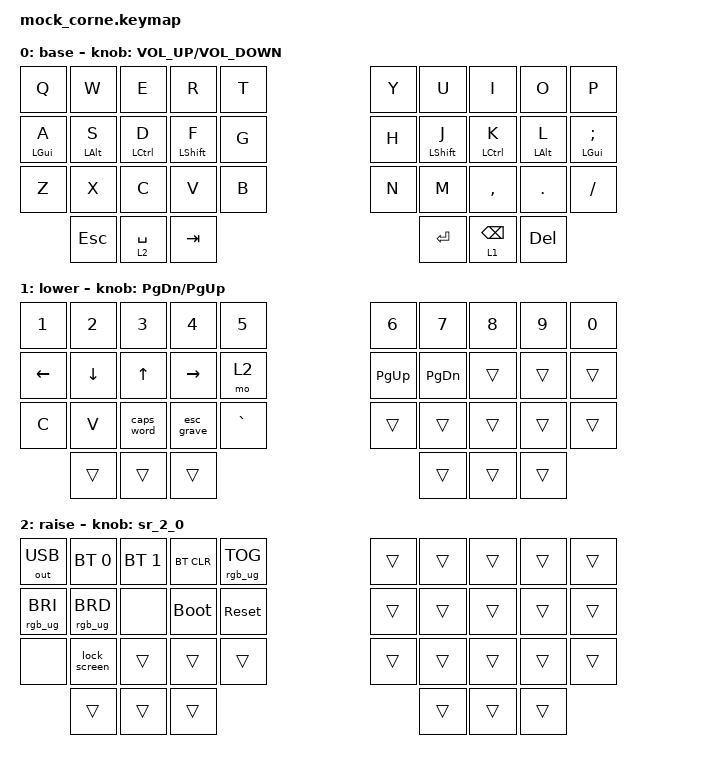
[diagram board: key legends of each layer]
/* Generated by remappr — ZMK keymap for Mock Corne.
 * Keymap layers, behaviors, combos, macros and tap-dances only.
 * Physical layout + matrix-transform live in the .overlay; board
 * hardware (kscan, pinctrl, LED drivers, …) is NOT generated — see
 * the "NOT GENERATED" checklist in the .overlay. */
#include <behaviors.dtsi>
#include <dt-bindings/zmk/keys.h>
#include <dt-bindings/zmk/bt.h>
#include <dt-bindings/zmk/outputs.h>
#include <dt-bindings/zmk/rgb.h>
#include <dt-bindings/zmk/backlight.h>
#include <dt-bindings/zmk/ext_power.h>
#include <dt-bindings/zmk/pointing.h>

/ {
    macros {
        lock_screen: lock_screen {
            compatible = "zmk,behavior-macro";
            #binding-cells = <0>;
            bindings = <&macro_press &kp LEFT_GUI>, <&macro_tap &kp L>, <&macro_release &kp LEFT_GUI>;
        };
    };

    behaviors {
        esc_grave: esc_grave {
            compatible = "zmk,behavior-tap-dance";
            #binding-cells = <0>;
            tapping-term-ms = <200>;
            bindings = <&kp ESCAPE>, <&kp GRAVE>;
        };
    };

    behaviors {
        mm_comma_semi: mm_comma_semi {
            compatible = "zmk,behavior-mod-morph";
            #binding-cells = <0>;
            bindings = <&kp COMMA>, <&kp SEMICOLON>;
            mods = <(MOD_LSFT|MOD_RSFT)>;
        };
        mm_bspc_del: mm_bspc_del {
            compatible = "zmk,behavior-mod-morph";
            #binding-cells = <0>;
            bindings = <&kp BACKSPACE>, <&kp DELETE>;
            mods = <(MOD_LSFT|MOD_RSFT)>;
            keep-mods = <(MOD_LGUI)>;
        };
    };

    behaviors {
        ht_home_row: ht_home_row {
            compatible = "zmk,behavior-hold-tap";
            #binding-cells = <2>;
            bindings = <&kp>, <&kp>;
            flavor = "balanced";
            tapping-term-ms = <200>;
            quick-tap-ms = <150>;
        };
        ht_layer_tap: ht_layer_tap {
            compatible = "zmk,behavior-hold-tap";
            #binding-cells = <2>;
            bindings = <&mo>, <&kp>;
            flavor = "hold-preferred";
            tapping-term-ms = <180>;
            require-prior-idle-ms = <100>;
            retro-tap;
        };
    };

    behaviors {
        sr_2_0: sr_2_0 {
            compatible = "zmk,behavior-sensor-rotate";
            #sensor-binding-cells = <0>;
            bindings = <&rgb_ug RGB_BRI>, <&rgb_ug RGB_BRD>;
        };
    };

    combos {
        compatible = "zmk,combos";
        combo_esc {
            timeout-ms = <50>;
            key-positions = <0 1>;
            bindings = <&kp ESCAPE>;
            layers = <0>;
        };
        combo_tab {
            key-positions = <5 6>;
            bindings = <&kp TAB>;
        };
    };

    conditional_layers {
        compatible = "zmk,conditional-layers";
        cond_0 {
            if-layers = <1>;
            then-layer = <2>;
        };
    };

    keymap {
        compatible = "zmk,keymap";
        layer_base {
            display-name = "base";
            bindings = <
                &kp Q &kp W &kp E &kp R &kp T &mt LGUI A
                &mt LALT S &mt LCTRL D &mt LSHFT F &kp G &kp Z &kp X
                &kp C &kp V &kp B &kp ESCAPE &lt 2 SPACE &kp TAB
                &kp Y &kp U &kp I &kp O &kp P &kp H
                &mt LSHFT J &mt LCTRL K &mt LALT L &mt LGUI SEMICOLON &kp N &kp M
                &kp COMMA &kp PERIOD &kp SLASH &kp RETURN &lt 1 BACKSPACE &kp DELETE
            >;
            sensor-bindings = <&inc_dec_kp C_VOLUME_UP C_VOLUME_DOWN>;
        };
        layer_lower {
            display-name = "lower";
            bindings = <
                &kp NUMBER_1 &kp NUMBER_2 &kp NUMBER_3 &kp NUMBER_4 &kp NUMBER_5 &kp LEFT_ARROW
                &kp DOWN_ARROW &kp UP_ARROW &kp RIGHT_ARROW &mo 2 &kp C &kp V
                &caps_word &esc_grave &kp GRAVE &trans &trans &trans
                &kp NUMBER_6 &kp NUMBER_7 &kp NUMBER_8 &kp NUMBER_9 &kp NUMBER_0 &kp PAGE_UP
                &kp PAGE_DOWN &trans &trans &trans &trans &trans
                &trans &trans &trans &trans &trans &trans
            >;
            sensor-bindings = <&inc_dec_kp PAGE_DOWN PAGE_UP>;
        };
        layer_raise {
            display-name = "raise";
            bindings = <
                &out OUT_USB &bt BT_SEL 0 &bt BT_SEL 1 &bt BT_CLR &rgb_ug RGB_TOG &rgb_ug RGB_BRI
                &rgb_ug RGB_BRD &none &bootloader &sys_reset &none &lock_screen
                &trans &trans &trans &trans &trans &trans
                &trans &trans &trans &trans &trans &trans
                &trans &trans &trans &trans &trans &trans
                &trans &trans &trans &trans &trans &trans
            >;
            sensor-bindings = <&sr_2_0>;
        };
    };
};
